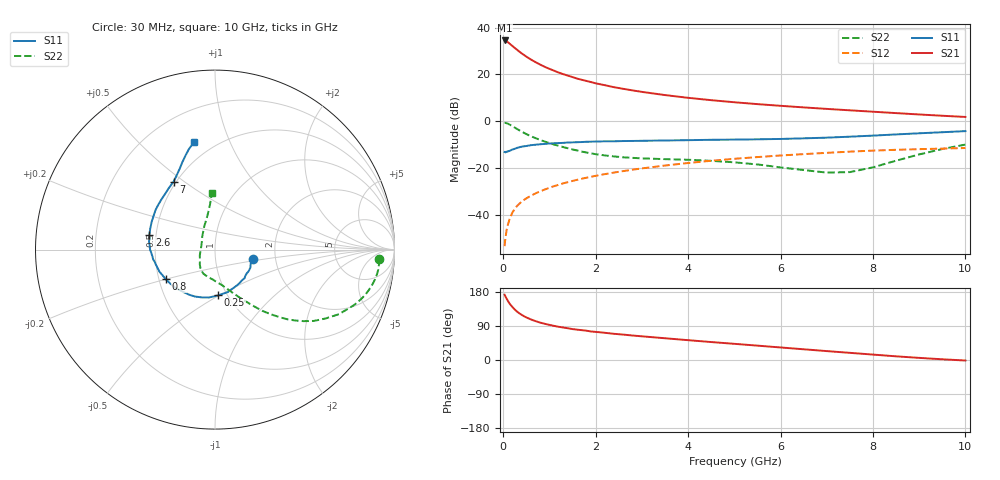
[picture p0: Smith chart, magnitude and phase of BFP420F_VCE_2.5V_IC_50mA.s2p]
! Infineon Technologies  Discrete & RF Semiconductors
! BFP420F
! VCE =  2.5 V,  IC =  50 mA
! Common Emitter S-Parameters:  Sep 2011
# GHz  S  MA  R  50
!  f  S11  S21  S12  S22
! GHz  MAG  ANG  MAG  ANG  MAG  ANG  MAG  ANG
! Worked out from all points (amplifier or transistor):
!   54 points, 30 MHz to 10 GHz, reference 50 ohm
!   highest |S21| = 34.6 dB at 30 MHz (marker M1)
!   |S21| within 3 dB of that: start of sweep to 236.1 MHz
!   unconditionally stable (mu >= 1): 1.228 GHz to end of sweep
!   at 120 MHz: K = 0.44, MSG = 38.4 dB, |S12| = -43.2 dB
!   at 1.3 GHz: K = 1.01, MAG = 22.7 dB, |S12| = -26.7 dB
!   at 10 GHz: K = 1.22, MAG = 3.8 dB, |S12| = -11.5 dB
!   S11 on the Smith chart (normalised r, x): 30 MHz: 1.53, -0.16; 250 MHz: 0.91, -0.50; 800 MHz: 0.54, -0.20; 2.6 GHz: 0.46, +0.09; 7 GHz: 0.48, +0.46; 10 GHz: 0.39, +0.75
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0.03  0.2183 -13.2  53.5 172.2  0.0021 95.1  0.9161 -3.3
0.05  0.2136 -21.3  52.3 167.1  0.0032 87.1  0.9163 -7.0
0.07  0.2216 -29.3  51.42 162.7  0.0044 84.6  0.907 -10.5
0.1  0.2239 -41.4  49.21 156.1  0.006 81.2  0.8835 -15.2
0.12  0.2279 -48.3  47.43 152.1  0.0069 80.2  0.864 -18.1
0.15  0.2338 -58.1  44.7 146.9  0.0086 78.3  0.8324 -21.9
0.2  0.2473 -73.3  40.65 139.6  0.0111 76.3  0.7791 -27.5
0.25  0.2556 -86.0  36.86 133.1  0.0132 73.8  0.7259 -31.9
0.3  0.2684 -96.9  33.76 127.7  0.0153 72.4  0.6793 -35.8
0.35  0.2765 -105.7  30.82 123.1  0.0171 71.2  0.6348 -38.9
0.45  0.2896 -119.6  26.12 115.5  0.0206 70.0  0.5617 -43.8
0.6  0.3057 -135.2  20.84 107.0  0.0253 68.9  0.4748 -49.3
0.8  0.3202 -148.9  16.27 98.6  0.0314 68.5  0.3958 -54.6
1  0.3327 -158.0  13.19 92.7  0.0375 68.5  0.3385 -59.1
1.2  0.3394 -165.5  10.97 87.6  0.0434 68.1  0.2957 -63.4
1.7  0.357 -178.0  7.686 78.7  0.0584 66.9  0.2228 -73.7
2.6  0.3749 167.4  4.921 67.0  0.0852 63.2  0.168 -93.7
3.5  0.3854 156.2  3.618 57.4  0.1121 58.5  0.1536 -108.9
5.5  0.4082 137.4  2.316 37.9  0.1701 45.8  0.1183 -135.7
7  0.4431 121.4  1.83 23.5  0.2095 35.4  0.0791 -179.9
8.5  0.5197 110.5  1.487 9.7  0.2432 24.3  0.1423 114.9
10  0.6118 100.8  1.231 -1.4  0.2657 14.9  0.3151 93.2
